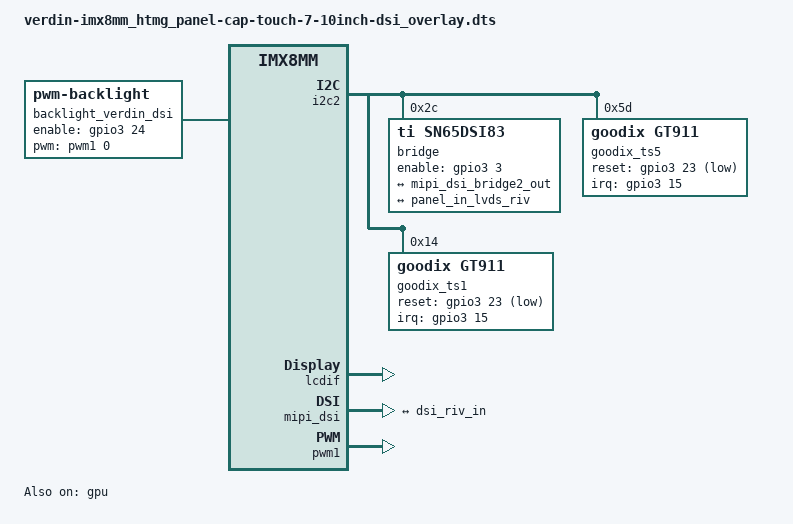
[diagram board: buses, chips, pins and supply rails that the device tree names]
// Verdin iMX8MM overlay to enable DSI displays connected to Ipê Board.

/dts-v1/;
/plugin/;

/ {
	compatible = "toradex,verdin-imx8mm";
};

#include <dt-bindings/interrupt-controller/arm-gic.h>
#include <dt-bindings/gpio/gpio.h>
#include "display-tdo-ts070wsh02ce_overlay.dtsi"

&{/} {
	backlight_verdin_dsi: backlight-verdin-dsi {
		compatible = "pwm-backlight";
		pinctrl-names = "default";
		pinctrl-0 = <&pinctrl_i2s_2_d_out_dsi_1_bkl_en>;
		brightness-levels = <0 45 63 88 119 158 203 255>;
		default-brightness-level = <4>;
		/* Verdin I2S_2_D_OUT */
		enable-gpios = <&gpio3 24 GPIO_ACTIVE_HIGH>;
		/* Verdin PWM_3_DSI */
		pwms = <&pwm1 0 6666667 0>;
	};
};

&gpu {
	status = "okay";
};

/* Verdin I2C_2_DSI */
&i2c2 {
	#address-cells = <1>;
	#size-cells = <0>;
	status = "okay";

	bridge@2c {
		compatible = "ti,sn65dsi83";
		reg = <0x2c>;
		/* IRQ not connected */
		/* Verdin GPIO_10_DSI (SODIMM 21) */
		enable-gpios = <&gpio3 3 GPIO_ACTIVE_HIGH>;
		pinctrl-names = "default";
		pinctrl-0 = <&pinctrl_gpio_10_dsi>;

		ports {
			#address-cells = <1>;
			#size-cells = <0>;

			port@0 {
				reg = <0>;

				dsi_riv_in: endpoint {
					data-lanes = <1 2 3 4>;
					remote-endpoint = <&mipi_dsi_bridge2_out>;
				};
			};

			port@2 {
				reg = <2>;

				lvds_out_panel_riv: endpoint {
					remote-endpoint = <&panel_in_lvds_riv>;
				};
			};
		};
	};

	/* Goodix GT911 controller touchscreen */
	goodix_ts5: gt9115d@5d {
		compatible = "goodix,gt911";
		reg = <0x5d>;
		/* Verdin DSI_1_INT# (TOUCH_INT#, SODIMM 17) */
		interrupt-parent = <&gpio3>;
		interrupts = <15 IRQ_TYPE_EDGE_RISING>;
		pinctrl-names = "default";
		pinctrl-0 = <&pinctrl_gpio_9_dsi>, <&pinctrl_i2s_2_bclk_touch_reset>;
		/* Verdin I2S_2_BCLK (TOUCH_RESET#, SODIMM 42) */
		reset-gpios = <&gpio3 23 GPIO_ACTIVE_LOW>;
		status = "okay";
	};

	/* Goodix GT911 controller touchscreen */
	goodix_ts1: gt91114@14 {
		compatible = "goodix,gt911";
		reg = <0x14>;
		/* Verdin DSI_1_INT# (TOUCH_INT#, SODIMM 17) */
		interrupt-parent = <&gpio3>;
		interrupts = <15 IRQ_TYPE_EDGE_RISING>;
		pinctrl-names = "default";
		pinctrl-0 = <&pinctrl_gpio_9_dsi>, <&pinctrl_i2s_2_bclk_touch_reset>;
		/* Verdin I2S_2_BCLK (TOUCH_RESET#, SODIMM 42) */
		reset-gpios = <&gpio3 23 GPIO_ACTIVE_LOW>;
		status = "okay";
	};
};

&lcdif {
	status = "okay";
};

&mipi_dsi {
	#address-cells = <1>;
	#size-cells = <0>;
	status = "okay";

	port@1 {
		mipi_dsi_bridge2_out: endpoint {
			attach-bridge;
			remote-endpoint = <&dsi_riv_in>;
		};
	};
};

&panel_ts070wsh02ce {
	backlight = <&backlight_verdin_dsi>;
};

/* Verdin PWM_3_DSI */
&pwm1 {
	status = "okay";
};
